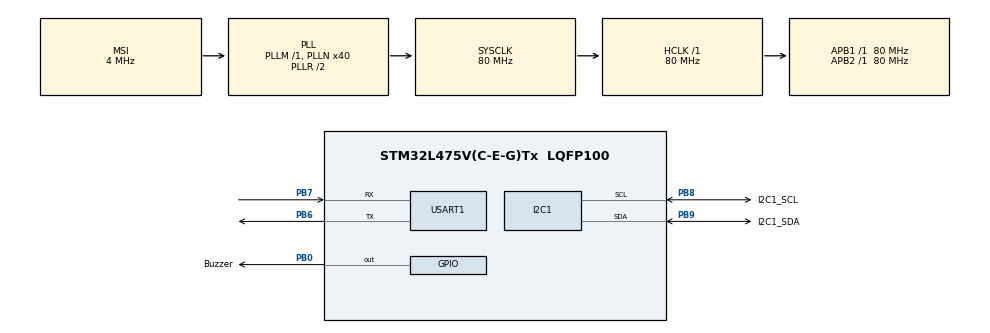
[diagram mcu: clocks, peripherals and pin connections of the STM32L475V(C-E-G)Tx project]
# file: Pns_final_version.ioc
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I2C1.Timing=0x10D19CE4
Mcu.Family=STM32L4
Mcu.Name=STM32L475V(C-E-G)Tx
Mcu.Package=LQFP100
NVIC.PriorityGroup=NVIC_PRIORITYGROUP_4
PB0.GPIO_Label=Buzzer
PB0.Signal=GPIO_Output
PB6.Mode=Asynchronous
PB6.Signal=USART1_TX
PB7.Mode=Asynchronous
PB7.Signal=USART1_RX
PB8.GPIO_FM8=__NULL
PB8.GPIO_Label=I2C1_SCL
PB8.Mode=I2C
PB8.Signal=I2C1_SCL
PB9.GPIO_Label=I2C1_SDA
PB9.Mode=I2C
PB9.Signal=I2C1_SDA
ProjectManager.HeapSize=0x200
ProjectManager.StackSize=0x400
ProjectManager.TargetToolchain=STM32CubeIDE
RCC.ADCFreq_Value=48000000
RCC.AHBFreq_Value=80000000
RCC.APB1Freq_Value=80000000
RCC.APB1TimFreq_Value=80000000
RCC.APB2Freq_Value=80000000
RCC.APB2TimFreq_Value=80000000
RCC.CortexFreq_Value=80000000
RCC.HCLKFreq_Value=80000000
RCC.HSE_VALUE=8000000
RCC.HSI_VALUE=16000000
RCC.LSE_VALUE=32768
RCC.MSI_VALUE=4000000
RCC.PLLN=40
RCC.PLLSAI1N=24
RCC.SYSCLKFreq_VALUE=80000000
RCC.SYSCLKSource=RCC_SYSCLKSOURCE_PLLCLK
RCC.USBFreq_Value=48000000
RCC.VCOOutputFreq_Value=160000000
USART1.VirtualMode-Asynchronous=VM_ASYNC
board=B-L475E-IOT01A2

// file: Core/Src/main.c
/* USER CODE BEGIN Header */
/**
  ******************************************************************************
  * @file           : main.c
  * @brief          : Main program body
  ******************************************************************************
  * @attention
  *
  * Copyright (c) 2025 STMicroelectronics.
  * All rights reserved.
  *
  * This software is licensed under terms that can be found in the LICENSE file
  * in the root directory of this software component.
  * If no LICENSE file comes with this software, it is provided AS-IS.
  *
  ******************************************************************************
  */
/* USER CODE END Header */
#include "main.h"

/* USER CODE BEGIN Includes */
#include "sgp30.h"
#include "easy_rgb_lcd.h"
#include "buzzer.h"
#include "sen54.h"
#include "sen5x_i2c.h"
#include "string.h"
#include "stdio.h"
#include "buzzer_music.h"
/* USER CODE END Includes */

/* USER CODE BEGIN PTD */
#ifdef __GNUC__
#define PUTCHAR_PROTOTYPE int __io_putchar(int ch)
#else
#define PUTCHAR_PROTOTYPE int fputc(int ch, FILE *f)
#endif
/* USER CODE END PTD */

I2C_HandleTypeDef hi2c1;

UART_HandleTypeDef huart1;

void SystemClock_Config(void);
static void MX_GPIO_Init(void);
static void MX_I2C1_Init(void);
static void MX_USART1_UART_Init(void);

/* USER CODE BEGIN 0 */
int __io_putchar(int ch) {
    HAL_UART_Transmit(&huart1, (uint8_t *)&ch, 1, HAL_MAX_DELAY);
    return ch;
}
/* USER CODE END 0 */

int main(void)
{

  /* MCU Configuration--------------------------------------------------------*/

  /* Reset of all peripherals, Initializes the Flash interface and the Systick. */
  HAL_Init();

  /* Configure the system clock */
  SystemClock_Config();

  /* Initialize all configured peripherals */
  MX_GPIO_Init();
  MX_I2C1_Init();
  MX_USART1_UART_Init();
  /* USER CODE BEGIN 2 */
  //start communication with sensor

  HAL_Delay(10);
  //Display initialization
  LCD_begin(16,2,0);
  LCD_setColorWhite();
  //first I2C initialization
  sgp30_iaq_init();
  HAL_Delay(1000);
  uint8_t sensor_data[60];  // Buffer large enough for full data

   uint8_t buffer[48];
   sen5x_get_product_name(buffer, 48);
   int16_t error = sen5x_device_reset();
   error = sen5x_start_measurement();

   uint16_t mass_concentration_pm1p0;
   uint16_t mass_concentration_pm2p5;
   uint16_t mass_concentration_pm4p0;
   uint16_t mass_concentration_pm10p0;
   int16_t ambient_humidity;
   int16_t ambient_temperature;
   int16_t voc_index;
   int16_t nox_index;
   uint8_t cur_screen = 0;
   uint32_t last_switch = 0;

   HAL_Delay(1000);

   error = sen5x_read_measured_values(
       &mass_concentration_pm1p0, &mass_concentration_pm2p5,
       &mass_concentration_pm4p0, &mass_concentration_pm10p0,
       &ambient_humidity, &ambient_temperature, &voc_index, &nox_index);

   if (sen54_init(&hi2c1) == HAL_OK)
   {
       printf("Sensor initialized.\r\n");
   } else {
       printf("Sensor init failed.\r\n");
   }

   if (sen54_read_measurements(&hi2c1, sensor_data, sizeof(sensor_data)) == HAL_OK) {
       /*printf("Measurement received:\r\n");*/

       for (int i = 0; i < sizeof(sensor_data); i++) {
           printf("%02X ", sensor_data[i]);
       }
       printf("\r\n");
   }

  /* USER CODE END 2 */

  /* Infinite loop */
  /* USER CODE BEGIN WHILE */
  while (1)
  {
	  //measurement of values
	  uint16_t co2, tvoc, pm25;
	  float temp = 0.0f, hum= 0.0f;

	  char buffer[17];

	  //reading VOC and CO2 values
	  sgp30_measure_iaq_blocking_read(&tvoc, &co2);

	  /*
	  //reading SEn54
	  if (sen54_read_measurements(&hi2c1, sensor_data, sizeof(sensor_data)) == HAL_OK) {
	        printf("Measurement received:\r\n");
	        for (int i = 0; i < sizeof(sensor_data); i++) {
	            printf("%02X ", sensor_data[i]);
	        }
	        printf("\r\n");
	  }
*/
	  if (sen54_read_measurements(&hi2c1, sensor_data, sizeof(sensor_data)) == HAL_OK) {

	  	      printf("\r\n");
	  	      uint16_t raw_mc_1 = ((uint16_t)sensor_data[0] << 8) | sensor_data[1];
	  	      mass_concentration_pm1p0 = raw_mc_1/10.0f;
	  	      int mc_1_int = (int)(mass_concentration_pm1p0 + 0.5f);
	  	      printf("\r\nMass Concentration PM1.0: %.d °C\r\n", mc_1_int);

	  	      printf("\r\n");
	  	      uint16_t raw_mc_25 = ((uint16_t)sensor_data[3] << 8) | sensor_data[4];
	  	      mass_concentration_pm2p5 = raw_mc_25/10.0f;
	  	      int mc_25_int = (int)(mass_concentration_pm2p5 + 0.5f);
	  	      printf("\r\nMass Concentration PM2.5: %.d °C\r\n", mc_25_int);

	  	      printf("\r\n");
	  	      uint16_t raw_mc_4 = ((uint16_t)sensor_data[6] << 8) | sensor_data[7];
	  	      mass_concentration_pm4p0 = raw_mc_4/10.0f;
	  	      int mc_4_int = (int)(mass_concentration_pm4p0 + 0.5f);
	  	      printf("\r\nMass Concentration PM4.0: %.d °C\r\n", mc_4_int);

	  	      printf("\r\n");
	  	      uint16_t raw_mc_10 = ((uint16_t)sensor_data[9] << 8) | sensor_data[10];
	  	      mass_concentration_pm10p0 = raw_mc_10/10.0f;
	  	      int mc_10_int = (int)(mass_concentration_pm10p0 + 0.5f);
	  	      printf("\r\nMass Concentration PM10.0: %.d °C\r\n", mc_10_int);

	  	      printf("\r\n");
	  	      uint16_t raw_hum = ((uint16_t)sensor_data[12] << 8) | sensor_data[13];
	  	      ambient_humidity = raw_hum/100.0f;
	  	      int hum_int = (int)(ambient_humidity + 0.5f);
	  	      printf("\r\nAmbient Humidity: %.d %\r\n", hum_int);

	  	      uint16_t raw_temp = ((uint16_t)sensor_data[15] << 8) | sensor_data[16];
	  	      float room_temperature = raw_temp / 200.0f;
	  	      int temp_int = (int)(room_temperature + 0.5f);
	  	      printf("\r\nAmbient Temperature: %.d °C\r\n", temp_int);

	  	  }

	  HAL_Delay(1000); //read every second

	  //cycling through the data on screen
	  if (HAL_GetTick() - last_switch >= 3000) {
	          last_switch = HAL_GetTick();
	          cur_screen = (cur_screen + 1) % 3;

	          //clear and update LCD
	          LCD_clear();
			  switch(cur_screen){
				  case 0:
					  LCD_setCursor(0, 0);
					  snprintf(buffer, sizeof(buffer), "CO2: %u ppm", co2);
					  LCD_print(buffer, strlen(buffer));

					  LCD_setCursor(0, 1);
					  snprintf(buffer, sizeof(buffer), "TVOC: %u ppb", tvoc);
					  LCD_print(buffer, strlen(buffer));
					  break;
				  case 1:
					  LCD_setCursor(0, 0);
					  uint16_t raw_temp = ((uint16_t)sensor_data[15] << 8) | sensor_data[16];
					  float room_temperature = raw_temp / 200.0f;
					  int temp_int = (int)(room_temperature + 0.5f);
					  snprintf(buffer, sizeof(buffer), "T: %d C", temp_int);
					  LCD_print(buffer, strlen(buffer));

					  LCD_setCursor(0, 1);
					  //int hum_int = (int)(hum + 0.5f);
					  uint16_t raw_hum = ((uint16_t)sensor_data[12] << 8) | sensor_data[13];
					  ambient_humidity = raw_hum/100.0f;
					  int hum_int = (int)(ambient_humidity + 0.5f);
					  snprintf(buffer, sizeof(buffer), "RH: %d %%", hum_int);
					  LCD_print(buffer, strlen(buffer));
					  break;
				  case 2:
					  LCD_setCursor(0, 0);
					  uint16_t raw_mc_25 = ((uint16_t)sensor_data[3] << 8) | sensor_data[4];
					  mass_concentration_pm2p5 = raw_mc_25/10.0f;
					  int mc_25_int = (int)(mass_concentration_pm2p5 + 0.5f);
					  snprintf(buffer, sizeof(buffer), "PM2.5: %u ug/m3", mc_25_int);
					  LCD_print(buffer, strlen(buffer));
					  break;
			  }

	  }

	  uint16_t raw_temp = ((uint16_t)sensor_data[15] << 8) | sensor_data[16];
	 					  float room_temperature = raw_temp / 200.0f;
	 					  int temp_int = (int)(room_temperature + 0.5f);
	  uint16_t raw_hum = ((uint16_t)sensor_data[12] << 8) | sensor_data[13];
	  ambient_humidity = raw_hum/100.0f;
	  int hum_int = (int)(ambient_humidity + 0.5f);
	  uint16_t raw_mc_25 = ((uint16_t)sensor_data[3] << 8) | sensor_data[4];
	  mass_concentration_pm2p5 = raw_mc_25/10.0f;
	  int mc_25_int = (int)(mass_concentration_pm2p5 + 0.5f);

	  //Check Lüften conditions
	  if (co2>1000|| tvoc>300||mass_concentration_pm2p5>35 || room_temperature>30.0f || ambient_humidity > 60.0f){

		 //Twinkle Twinkle little star

		  int length = 15;
		  char notes[] = "ccggaagffeeddc ";
		  int beats[]  = {1,1,1,1,1,1,2,1,1,1,1,1,1,2,4};
		  int tempo = 300;
		  char buffer[17];
/*
		    == for TOM THE TANK ENGINE
		    	  int length = 8;
		    	  char notes[] = "gahCDEG "
		    	  int beats[] = {1,1,1,2,1,1,4};
		    	  int tempo = 300;
	*/

		for (int i = 0; i < length; i++) {
		  LCD_clear();
		  LCD_setCursor(0, 0);
		  snprintf(buffer, sizeof(buffer), "LUEFTEN!");
		  LCD_print(buffer, strlen(buffer));
		  sgp30_measure_iaq_blocking_read(&tvoc, &co2);

		  LCD_setCursor(0, 1);
		  if (co2 > 1000) {
		          snprintf(buffer, sizeof(buffer), "CO2: %u ppm", co2);
		      }
		  else if (tvoc > 300) {
		          snprintf(buffer, sizeof(buffer), "TVOC: %u ppb", tvoc);
		      }
		  else if (room_temperature > 50.0f || room_temperature < 18.0f) {
			  uint16_t raw_temp = ((uint16_t)sensor_data[15] << 8) | sensor_data[16];
			  float room_temperature = raw_temp / 200.0f;
			  int temp_int = (int)(room_temperature + 0.5f);
			  snprintf(buffer, sizeof(buffer), "T: %d C", temp_int);
		      }
		  else if (ambient_humidity  > 60.0f) {
			  uint16_t raw_hum = ((uint16_t)sensor_data[12] << 8) | sensor_data[13];
			  ambient_humidity = raw_hum/100.0f;
			  int hum_int = (int)(ambient_humidity + 0.5f);
			  snprintf(buffer, sizeof(buffer), "RH: %d %%", hum_int);
			  LCD_print(buffer, strlen(buffer));
		  		      }
		  else if (mass_concentration_pm2p5 > 35) {
			  uint16_t raw_mc_25 = ((uint16_t)sensor_data[3] << 8) | sensor_data[4];
			  mass_concentration_pm2p5 = raw_mc_25/10.0f;
			  int mc_25_int = (int)(mass_concentration_pm2p5 + 0.5f);
			  snprintf(buffer, sizeof(buffer), "PM2.5: %u ug/m3", mc_25_int);
		  }
		  LCD_print(buffer, strlen(buffer));

		  if (notes[i] == ' ') {
		  					HAL_Delay(beats[i] * tempo);
		  				}
		  else {
		  					play_note(notes[i], beats[i] * tempo);
		  				}
		  				HAL_Delay(tempo / 2);
		}
		  HAL_Delay(3000);
		  LCD_clear();
		  HAL_Delay(3000);
	  }

	  //printf("CO2: %d ppm, TVOC: %d ppb\r\n", co2, tvoc);
	  int16_t ret = sgp30_measure_iaq_blocking_read(&tvoc, &co2);
	  if (ret != 0) {
	      printf("SGP30 I2C read error: %d\r\n", ret);
	  }

    /* USER CODE END WHILE */

  }
}

void SystemClock_Config(void)
{
  RCC_OscInitTypeDef RCC_OscInitStruct = {0};
  RCC_ClkInitTypeDef RCC_ClkInitStruct = {0};

  /** Configure the main internal regulator output voltage
  */
  if (HAL_PWREx_ControlVoltageScaling(PWR_REGULATOR_VOLTAGE_SCALE1) != HAL_OK)
  {
    Error_Handler();
  }

  /** Initializes the RCC Oscillators according to the specified parameters
  * in the RCC_OscInitTypeDef structure.
  */
  RCC_OscInitStruct.OscillatorType = RCC_OSCILLATORTYPE_MSI;
  RCC_OscInitStruct.MSIState = RCC_MSI_ON;
  RCC_OscInitStruct.MSICalibrationValue = 0;
  RCC_OscInitStruct.MSIClockRange = RCC_MSIRANGE_6;
  RCC_OscInitStruct.PLL.PLLState = RCC_PLL_ON;
  RCC_OscInitStruct.PLL.PLLSource = RCC_PLLSOURCE_MSI;
  RCC_OscInitStruct.PLL.PLLM = 1;
  RCC_OscInitStruct.PLL.PLLN = 40;
  RCC_OscInitStruct.PLL.PLLP = RCC_PLLP_DIV7;
  RCC_OscInitStruct.PLL.PLLQ = RCC_PLLQ_DIV2;
  RCC_OscInitStruct.PLL.PLLR = RCC_PLLR_DIV2;
  if (HAL_RCC_OscConfig(&RCC_OscInitStruct) != HAL_OK)
  {
    Error_Handler();
  }

  /** Initializes the CPU, AHB and APB buses clocks
  */
  RCC_ClkInitStruct.ClockType = RCC_CLOCKTYPE_HCLK|RCC_CLOCKTYPE_SYSCLK
                              |RCC_CLOCKTYPE_PCLK1|RCC_CLOCKTYPE_PCLK2;
  RCC_ClkInitStruct.SYSCLKSource = RCC_SYSCLKSOURCE_PLLCLK;
  RCC_ClkInitStruct.AHBCLKDivider = RCC_SYSCLK_DIV1;
  RCC_ClkInitStruct.APB1CLKDivider = RCC_HCLK_DIV1;
  RCC_ClkInitStruct.APB2CLKDivider = RCC_HCLK_DIV1;

  if (HAL_RCC_ClockConfig(&RCC_ClkInitStruct, FLASH_LATENCY_4) != HAL_OK)
  {
    Error_Handler();
  }
}

static void MX_I2C1_Init(void)
{

  hi2c1.Instance = I2C1;
  hi2c1.Init.Timing = 0x10D19CE4;
  hi2c1.Init.OwnAddress1 = 0;
  hi2c1.Init.AddressingMode = I2C_ADDRESSINGMODE_7BIT;
  hi2c1.Init.DualAddressMode = I2C_DUALADDRESS_DISABLE;
  hi2c1.Init.OwnAddress2 = 0;
  hi2c1.Init.OwnAddress2Masks = I2C_OA2_NOMASK;
  hi2c1.Init.GeneralCallMode = I2C_GENERALCALL_DISABLE;
  hi2c1.Init.NoStretchMode = I2C_NOSTRETCH_DISABLE;
  if (HAL_I2C_Init(&hi2c1) != HAL_OK)
  {
    Error_Handler();
  }

  /** Configure Analogue filter
  */
  if (HAL_I2CEx_ConfigAnalogFilter(&hi2c1, I2C_ANALOGFILTER_ENABLE) != HAL_OK)
  {
    Error_Handler();
  }

  /** Configure Digital filter
  */
  if (HAL_I2CEx_ConfigDigitalFilter(&hi2c1, 0) != HAL_OK)
  {
    Error_Handler();
  }

}

static void MX_USART1_UART_Init(void)
{

  huart1.Instance = USART1;
  huart1.Init.BaudRate = 115200;
  huart1.Init.WordLength = UART_WORDLENGTH_8B;
  huart1.Init.StopBits = UART_STOPBITS_1;
  huart1.Init.Parity = UART_PARITY_NONE;
  huart1.Init.Mode = UART_MODE_TX_RX;
  huart1.Init.HwFlowCtl = UART_HWCONTROL_NONE;
  huart1.Init.OverSampling = UART_OVERSAMPLING_16;
  huart1.Init.OneBitSampling = UART_ONE_BIT_SAMPLE_DISABLE;
  huart1.AdvancedInit.AdvFeatureInit = UART_ADVFEATURE_NO_INIT;
  if (HAL_UART_Init(&huart1) != HAL_OK)
  {
    Error_Handler();
  }

}

static void MX_GPIO_Init(void)
{
  GPIO_InitTypeDef GPIO_InitStruct = {0};

  /* GPIO Ports Clock Enable */
  __HAL_RCC_GPIOB_CLK_ENABLE();

  /*Configure GPIO pin Output Level */
  HAL_GPIO_WritePin(Buzzer_GPIO_Port, Buzzer_Pin, GPIO_PIN_RESET);

  /*Configure GPIO pin : Buzzer_Pin */
  GPIO_InitStruct.Pin = Buzzer_Pin;
  GPIO_InitStruct.Mode = GPIO_MODE_OUTPUT_PP;
  GPIO_InitStruct.Pull = GPIO_NOPULL;
  GPIO_InitStruct.Speed = GPIO_SPEED_FREQ_LOW;
  HAL_GPIO_Init(Buzzer_GPIO_Port, &GPIO_InitStruct);

}

void Error_Handler(void)
{
  __disable_irq();
  while (1)
  {
  }
}
